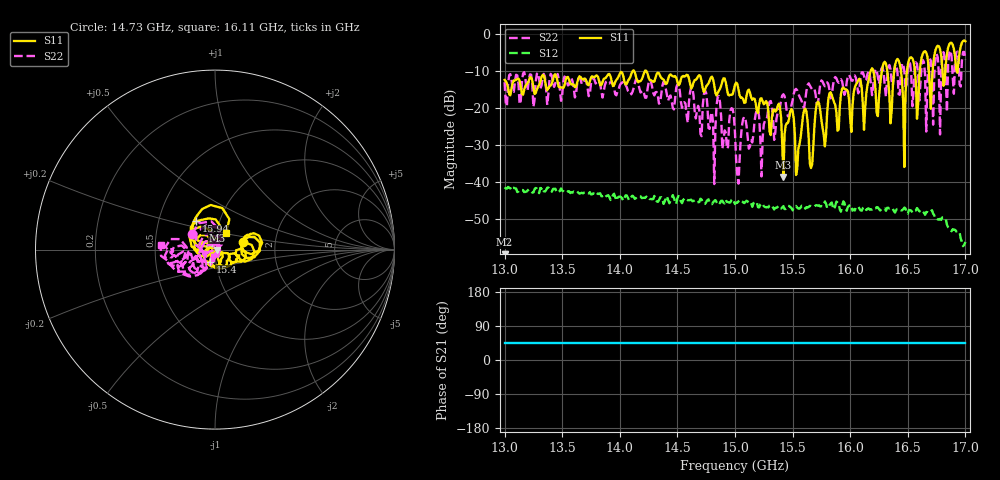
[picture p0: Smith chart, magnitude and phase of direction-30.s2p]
!Keysight Technologies,P9374A,MY57211810,A.19.30.04
!Date: Friday, May 02, 2025 08:59:42
!Correction: S11(Off)
!S21(Off)
!S12(Off)
!S22(Off)
!S2P File: Measurements: S11, S21, S12, S22:
# Hz S  dB  R 50
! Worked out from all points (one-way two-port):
!   401 points, 13 GHz to 17 GHz, reference 50 ohm
!   highest |S21| = - dB at 13 GHz (marker M1); lowest = - dB at 13 GHz (marker M2)
!   lowest |S11| = -38.7 dB at 15.42 GHz (marker M3), VSWR 1.02, Z = 51.2 - j0.235 ohm
!   |S11| at or under -10 dB: start of sweep to 14.11 GHz; 14.12 GHz to 14.22 GHz (93.94 MHz wide, 0.663 % of centre); 14.23 GHz to 16.18 GHz (1.947 GHz wide, 12.8 % of centre) (the widest 3 of 10)
!   |S22| runs from -40.6 to -4.4 dB; largest |S21 - S12| = 0.0085
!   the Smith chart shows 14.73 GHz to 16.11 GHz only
!   S11 on the Smith chart (normalised r, x): 14.73 GHz: 1.37, +0.12; 15.4 GHz: 0.94, -0.13; 15.94 GHz: 0.77, +0.25; 16.11 GHz: 1.11, +0.21
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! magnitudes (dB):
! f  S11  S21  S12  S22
! 13 GHz  -12.4  -  -41.5  -13.0
! 13.67 GHz  -12.1  -  -43.0  -13.5
! 14.34 GHz  -10.6  -  -45.0  -18.8
! 14.73 GHz  -15.7  -  -46.0  -16.3
! 15 GHz  -13.7  -  -46.0  -26.8
! 15.4 GHz  -22.6  -  -47.2  -17.9
! 15.42 GHz  -38.7  -  -46.6  -16.3
! 15.49 GHz  -20.3  -  -47.1  -19.3
! 15.55 GHz  -31.0  -  -47.3  -16.2
! 15.61 GHz  -20.2  -  -47.3  -17.8
! 15.67 GHz  -35.3  -  -46.7  -15.0
! 15.72 GHz  -18.3  -  -46.5  -18.9
! 15.77 GHz  -27.2  -  -46.4  -13.6
! 15.94 GHz  -14.5  -  -45.3  -14.6
! 16.11 GHz  -19.1  -  -47.1  -10.3
! 16.3 GHz  -7.5  -  -47.2  -13.9
! 16.34 GHz  -16.6  -  -47.3  -8.3
! 16.41 GHz  -6.7  -  -47.4  -10.2
! 16.47 GHz  -36.0  -  -47.0  -10.0
! 16.52 GHz  -6.4  -  -47.7  -8.0
! 16.58 GHz  -22.9  -  -47.1  -8.0
! 17 GHz  -1.9  -  -56.3  -6.9
